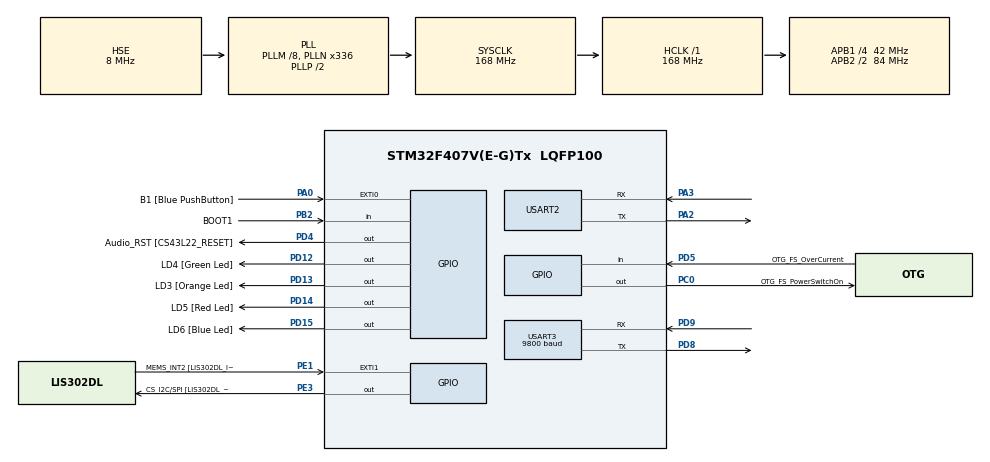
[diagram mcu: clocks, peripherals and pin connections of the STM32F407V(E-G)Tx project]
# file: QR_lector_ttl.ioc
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Mcu.Family=STM32F4
Mcu.Name=STM32F407V(E-G)Tx
Mcu.Package=LQFP100
NVIC.EXTI0_IRQn=true\:0\:0\:false\:false\:true\:true\:true
NVIC.PriorityGroup=NVIC_PRIORITYGROUP_0
NVIC.TIM1_BRK_TIM9_IRQn=true\:0\:0\:false\:false\:true\:true\:true
NVIC.USART2_IRQn=true\:0\:0\:false\:false\:true\:true\:true
NVIC.USART3_IRQn=true\:0\:0\:false\:false\:true\:true\:true
PA0-WKUP.GPIO_Label=B1 [Blue PushButton]
PA0-WKUP.GPIO_ModeDefaultEXTI=GPIO_MODE_IT_RISING
PA0-WKUP.GPIO_PuPd=GPIO_NOPULL
PA0-WKUP.Signal=GPXTI0
PA10.GPIO_Label=OTG_FS_ID
PA10.GPIO_Mode=GPIO_MODE_AF_PP
PA10.GPIO_PuPd=GPIO_NOPULL
PA10.GPIO_Speed=GPIO_SPEED_FREQ_LOW
PA10.Signal=USB_OTG_FS_ID
PA11.GPIO_Label=OTG_FS_DM
PA11.GPIO_Mode=GPIO_MODE_AF_PP
PA11.GPIO_PuPd=GPIO_NOPULL
PA11.GPIO_Speed=GPIO_SPEED_FREQ_LOW
PA11.Signal=USB_OTG_FS_DM
PA12.GPIO_Label=OTG_FS_DP
PA12.GPIO_Mode=GPIO_MODE_AF_PP
PA12.GPIO_PuPd=GPIO_NOPULL
PA12.GPIO_Speed=GPIO_SPEED_FREQ_LOW
PA12.Signal=USB_OTG_FS_DP
PA13.GPIO_Label=SWDIO
PA13.Mode=Serial_Wire
PA13.Signal=SYS_JTMS-SWDIO
PA14.GPIO_Label=SWCLK
PA14.Mode=Serial_Wire
PA14.Signal=SYS_JTCK-SWCLK
PA2.Mode=Asynchronous
PA2.Signal=USART2_TX
PA3.Mode=Asynchronous
PA3.Signal=USART2_RX
PA4.GPIO_Label=I2S3_WS [CS43L22_LRCK]
PA4.GPIO_Mode=GPIO_MODE_AF_PP
PA4.GPIO_PuPd=GPIO_NOPULL
PA4.GPIO_Speed=GPIO_SPEED_FREQ_LOW
PA4.Signal=I2S3_WS
PA5.GPIO_Label=SPI1_SCK [LIS302DL_SCL/SPC]
PA5.GPIO_Mode=GPIO_MODE_AF_PP
PA5.GPIO_PuPd=GPIO_NOPULL
PA5.GPIO_Speed=GPIO_SPEED_FREQ_LOW
PA5.Signal=SPI1_SCK
PA6.GPIO_Label=SPI1_MISO [LIS302DL_SDO]
PA6.GPIO_Mode=GPIO_MODE_AF_PP
PA6.GPIO_PuPd=GPIO_NOPULL
PA6.GPIO_Speed=GPIO_SPEED_FREQ_LOW
PA6.Signal=SPI1_MISO
PA7.GPIO_Label=SPI1_MOSI [LIS302DL_SDA/SDI/SDO]
PA7.GPIO_Mode=GPIO_MODE_AF_PP
PA7.GPIO_PuPd=GPIO_NOPULL
PA7.GPIO_Speed=GPIO_SPEED_FREQ_LOW
PA7.Signal=SPI1_MOSI
PA9.GPIO_Label=VBUS_FS
PA9.GPIO_Mode=GPIO_MODE_INPUT
PA9.GPIO_PuPd=GPIO_NOPULL
PA9.Signal=USB_OTG_FS_VBUS
PB10.GPIO_Label=CLK_IN [MP45DT02_CLK]
PB10.GPIO_Mode=GPIO_MODE_AF_PP
PB10.GPIO_PuPd=GPIO_NOPULL
PB10.GPIO_Speed=GPIO_SPEED_FREQ_LOW
PB10.Signal=I2S2_CK
PB2.GPIO_Label=BOOT1
PB2.GPIO_Mode=GPIO_MODE_INPUT
PB2.GPIO_PuPd=GPIO_NOPULL
PB2.Signal=GPIO_Input
PB3.GPIO_Label=SWO
PB3.Signal=SYS_JTDO-SWO
PB6.GPIO_Label=Audio_SCL [CS43L22_SCL]
PB6.GPIO_Mode=GPIO_MODE_AF_OD
PB6.GPIO_Pu=GPIO_PULLUP
PB6.GPIO_PuPd=GPIO_NOPULL
PB6.GPIO_Speed=GPIO_SPEED_FREQ_LOW
PB6.Signal=I2C1_SCL
PB9.GPIO_Label=Audio_SDA [CS43L22_SDA]
PB9.GPIO_Mode=GPIO_MODE_AF_OD
PB9.GPIO_Pu=GPIO_PULLUP
PB9.GPIO_PuPd=GPIO_NOPULL
PB9.GPIO_Speed=GPIO_SPEED_FREQ_LOW
PB9.Signal=I2C1_SDA
PC0.GPIO_Label=OTG_FS_PowerSwitchOn
PC0.GPIO_PuPd=GPIO_NOPULL
PC0.GPIO_Speed=GPIO_SPEED_FREQ_LOW
PC0.PinState=GPIO_PIN_SET
PC0.Signal=GPIO_Output
PC10.GPIO_Label=I2S3_SCK [CS43L22_SCLK]
PC10.GPIO_Mode=GPIO_MODE_AF_PP
PC10.GPIO_PuPd=GPIO_NOPULL
PC10.GPIO_Speed=GPIO_SPEED_FREQ_LOW
PC10.Signal=I2S3_CK
PC12.GPIO_Label=I2S3_SD [CS43L22_SDIN]
PC12.GPIO_Mode=GPIO_MODE_AF_PP
PC12.GPIO_PuPd=GPIO_NOPULL
PC12.GPIO_Speed=GPIO_SPEED_FREQ_LOW
PC12.Signal=I2S3_SD
PC14-OSC32_IN.GPIO_Label=PC14-OSC32_IN
PC14-OSC32_IN.Mode=LSE-External-Oscillator
PC14-OSC32_IN.Signal=RCC_OSC32_IN
PC15-OSC32_OUT.GPIO_Label=PC15-OSC32_OUT
PC15-OSC32_OUT.Mode=LSE-External-Oscillator
PC15-OSC32_OUT.Signal=RCC_OSC32_OUT
PC3.GPIO_Label=PDM_OUT [MP45DT02_DOUT]
PC3.GPIO_Mode=GPIO_MODE_AF_PP
PC3.GPIO_PuPd=GPIO_NOPULL
PC3.GPIO_Speed=GPIO_SPEED_FREQ_LOW
PC3.Signal=I2S2_SD
PC7.GPIO_Label=I2S3_MCK [CS43L22_MCLK]
PC7.GPIO_Mode=GPIO_MODE_AF_PP
PC7.GPIO_PuPd=GPIO_NOPULL
PC7.GPIO_Speed=GPIO_SPEED_FREQ_LOW
PC7.Signal=I2S3_MCK
PD12.GPIO_Label=LD4 [Green Led]
PD12.GPIO_PuPd=GPIO_NOPULL
PD12.GPIO_Speed=GPIO_SPEED_FREQ_LOW
PD12.Signal=GPIO_Output
PD13.GPIO_Label=LD3 [Orange Led]
PD13.GPIO_PuPd=GPIO_NOPULL
PD13.GPIO_Speed=GPIO_SPEED_FREQ_LOW
PD13.Signal=GPIO_Output
PD14.GPIO_Label=LD5 [Red Led]
PD14.GPIO_PuPd=GPIO_NOPULL
PD14.GPIO_Speed=GPIO_SPEED_FREQ_LOW
PD14.Signal=GPIO_Output
PD15.GPIO_Label=LD6 [Blue Led]
PD15.GPIO_PuPd=GPIO_NOPULL
PD15.GPIO_Speed=GPIO_SPEED_FREQ_LOW
PD15.Signal=GPIO_Output
PD4.GPIO_Label=Audio_RST [CS43L22_RESET]
PD4.GPIO_PuPd=GPIO_NOPULL
PD4.GPIO_Speed=GPIO_SPEED_FREQ_LOW
PD4.Signal=GPIO_Output
PD5.GPIO_Label=OTG_FS_OverCurrent
PD5.GPIO_Mode=GPIO_MODE_INPUT
PD5.GPIO_PuPd=GPIO_NOPULL
PD5.Signal=GPIO_Input
PD8.Mode=Asynchronous
PD8.Signal=USART3_TX
PD9.Mode=Asynchronous
PD9.Signal=USART3_RX
PE1.GPIO_Label=MEMS_INT2 [LIS302DL_INT2]
PE1.GPIO_ModeDefaultEXTI=GPIO_MODE_EVT_RISING
PE1.GPIO_PuPd=GPIO_NOPULL
PE1.Signal=GPXTI1
PE3.GPIO_Label=CS_I2C/SPI [LIS302DL_CS_I2C/SPI]
PE3.GPIO_PuPd=GPIO_NOPULL
PE3.GPIO_Speed=GPIO_SPEED_FREQ_LOW
PE3.Signal=GPIO_Output
PH0-OSC_IN.GPIO_Label=PH0-OSC_IN
PH0-OSC_IN.Mode=HSE-External-Oscillator
PH0-OSC_IN.Signal=RCC_OSC_IN
PH1-OSC_OUT.GPIO_Label=PH1-OSC_OUT
PH1-OSC_OUT.Mode=HSE-External-Oscillator
PH1-OSC_OUT.Signal=RCC_OSC_OUT
ProjectManager.HeapSize=0x200
ProjectManager.StackSize=0x400
ProjectManager.TargetToolchain=STM32CubeIDE
RCC.48MHZClocksFreq_Value=48000000
RCC.AHBFreq_Value=168000000
RCC.APB1CLKDivider=RCC_HCLK_DIV4
RCC.APB1Freq_Value=42000000
RCC.APB1TimFreq_Value=84000000
RCC.APB2CLKDivider=RCC_HCLK_DIV2
RCC.APB2Freq_Value=84000000
RCC.APB2TimFreq_Value=168000000
RCC.CortexFreq_Value=168000000
RCC.HCLKFreq_Value=168000000
RCC.HSE_VALUE=8000000
RCC.HSI_VALUE=16000000
RCC.PLLM=8
RCC.PLLN=336
RCC.PLLQ=7
RCC.PLLSourceVirtual=RCC_PLLSOURCE_HSE
RCC.SYSCLKFreq_VALUE=168000000
RCC.SYSCLKSource=RCC_SYSCLKSOURCE_PLLCLK
RCC.VCOOutputFreq_Value=336000000
TIM9.AutoReloadPreload=TIM_AUTORELOAD_PRELOAD_DISABLE
TIM9.Period=4000-1
TIM9.Prescaler=16799
USART2.VirtualMode=VM_ASYNC
USART3.BaudRate=9800
USART3.VirtualMode=VM_ASYNC
VP_TIM9_VS_ClockSourceINT.Mode=Internal
board=STM32F407G-DISC1

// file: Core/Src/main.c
/* USER CODE BEGIN Header */
/**
  ******************************************************************************
  * @file           : main.c
  * @brief          : Main program body
  ******************************************************************************
  * @attention
  *
  * Copyright (c) 2021 STMicroelectronics.
  * All rights reserved.
  *
  * This software is licensed under terms that can be found in the LICENSE file
  * in the root directory of this software component.
  * If no LICENSE file comes with this software, it is provided AS-IS.
  *
  ******************************************************************************
  */
/* USER CODE END Header */
#include "main.h"

/* USER CODE BEGIN Includes */
#include "gm65.h"
#include "stdio.h"
/* USER CODE END Includes */

/* USER CODE BEGIN PD */
#define	QR_START				0
#define	QR_SETUP_OFF			1
#define QR_SETUP_OFF_T			11
#define QR_SETUP_OFF_R			12
#define	QR_IDLE					2
#define	QR_SCAN					3
#define QR_SCAN_T				31
#define	QR_SCAN_RC				32
#define	QR_SCAN_RH				33
#define QR_SCAN_RD				34
#define	QR_SCAN_SETUP_OFF		4
#define QR_SCAN_SETUP_OFF_T		41
#define	QR_SCAN_SETUP_OFF_R		42
#define	QR_ABORT				5

#define QR_LENGTH_COMMAND				9
#define QR_LENGTH_RESPOND_COMMAND		7
#define QR_LENGTH_HEAD					3

#define QR_COMMAND_WAIT					5000
#define QR_SCAN_WAIT					55000

/* USER CODE END PD */

TIM_HandleTypeDef htim9;

UART_HandleTypeDef huart2;
UART_HandleTypeDef huart3;

void SystemClock_Config(void);
static void MX_GPIO_Init(void);
static void MX_USART2_UART_Init(void);
static void MX_USART3_UART_Init(void);
static void MX_TIM9_Init(void);
/* USER CODE BEGIN PFP */
uint8_t qrRespuestaValida(uint8_t *respuesta);
uint8_t qrRespSetupOnCode(uint8_t *code);
/* USER CODE END PFP */

/* USER CODE BEGIN 0 */
//uint8_t dato[4];
uint8_t qrSetupOFF[] ={ 	0x7E, 0,
								0x08,
								0x01,
								0x00, 0x03,
								0x03,
								0x11, 0xA9};
uint8_t qrWriteOK[]={		0x02, 0x00,
								0x00,
								0x01,
								0x00,
								0x33, 0x31};
uint8_t qrScan[]={		0x7E, 0x00,
								0x08,
								0x01,
								0x00, 0x02,
								0x01,
								0xAB, 0xCD};
uint8_t qrSetupOnCode[]={	0x51, 0x80, 0x52, 0x30, 0x33, 0x30, 0x32, 0x30, 0x30, 0x2E};
uint8_t qrBuffer[256];
uint8_t qrLengthDecode = 0;
uint8_t qrStatus = QR_START;

uint8_t qrRequest = 0;
uint8_t qrDataReady = 0;
char texto[25];
/* USER CODE END 0 */

int main(void)
{

  /* MCU Configuration--------------------------------------------------------*/

  /* Reset of all peripherals, Initializes the Flash interface and the Systick. */
  HAL_Init();

  /* Configure the system clock */
  SystemClock_Config();

  /* Initialize all configured peripherals */
  MX_GPIO_Init();
  MX_USART2_UART_Init();
  MX_USART3_UART_Init();
  MX_TIM9_Init();
  /* USER CODE BEGIN 2 */
  //HAL_Delay(1000);

  HAL_UART_Transmit_IT(&huart3, qrSetupOFF, QR_LENGTH_COMMAND);
  qrStatus= QR_SETUP_OFF_T;
  __HAL_TIM_SET_COUNTER(&htim9, 0);
  /* USER CODE END 2 */

  /* Infinite loop */
  /* USER CODE BEGIN WHILE */
  while (1)
  {

	  if(qrDataReady==1){
		  sprintf(texto,"Codigo decodificado:\n");
		  HAL_UART_Transmit(&huart2, (uint8_t*)texto, 21 , HAL_MAX_DELAY);
		  if(qrBuffer[0] ==0x51 && qrBuffer[qrLengthDecode-1]== 0x0D){
			  HAL_UART_Transmit(&huart2, qrBuffer+1, qrLengthDecode-2, HAL_MAX_DELAY);
		  }
		  else if(qrBuffer[0] != 0x51){
			  sprintf(texto,"No es QR\n");
			  HAL_UART_Transmit(&huart2, (uint8_t*)texto, 9 , HAL_MAX_DELAY);
		  }
		  else{
			  sprintf(texto,"ERROR\n");
			  HAL_UART_Transmit(&huart2, (uint8_t*)texto, 6 , HAL_MAX_DELAY);
		  }
		  qrDataReady=0;
	  }

    /* USER CODE END WHILE */

  }
}

void SystemClock_Config(void)
{
  RCC_OscInitTypeDef RCC_OscInitStruct = {0};
  RCC_ClkInitTypeDef RCC_ClkInitStruct = {0};

  /** Configure the main internal regulator output voltage
  */
  __HAL_RCC_PWR_CLK_ENABLE();
  __HAL_PWR_VOLTAGESCALING_CONFIG(PWR_REGULATOR_VOLTAGE_SCALE1);
  /** Initializes the RCC Oscillators according to the specified parameters
  * in the RCC_OscInitTypeDef structure.
  */
  RCC_OscInitStruct.OscillatorType = RCC_OSCILLATORTYPE_HSE;
  RCC_OscInitStruct.HSEState = RCC_HSE_ON;
  RCC_OscInitStruct.PLL.PLLState = RCC_PLL_ON;
  RCC_OscInitStruct.PLL.PLLSource = RCC_PLLSOURCE_HSE;
  RCC_OscInitStruct.PLL.PLLM = 8;
  RCC_OscInitStruct.PLL.PLLN = 336;
  RCC_OscInitStruct.PLL.PLLP = RCC_PLLP_DIV2;
  RCC_OscInitStruct.PLL.PLLQ = 7;
  if (HAL_RCC_OscConfig(&RCC_OscInitStruct) != HAL_OK)
  {
    Error_Handler();
  }
  /** Initializes the CPU, AHB and APB buses clocks
  */
  RCC_ClkInitStruct.ClockType = RCC_CLOCKTYPE_HCLK|RCC_CLOCKTYPE_SYSCLK
                              |RCC_CLOCKTYPE_PCLK1|RCC_CLOCKTYPE_PCLK2;
  RCC_ClkInitStruct.SYSCLKSource = RCC_SYSCLKSOURCE_PLLCLK;
  RCC_ClkInitStruct.AHBCLKDivider = RCC_SYSCLK_DIV1;
  RCC_ClkInitStruct.APB1CLKDivider = RCC_HCLK_DIV4;
  RCC_ClkInitStruct.APB2CLKDivider = RCC_HCLK_DIV2;

  if (HAL_RCC_ClockConfig(&RCC_ClkInitStruct, FLASH_LATENCY_5) != HAL_OK)
  {
    Error_Handler();
  }
}

static void MX_TIM9_Init(void)
{

  TIM_ClockConfigTypeDef sClockSourceConfig = {0};

  htim9.Instance = TIM9;
  htim9.Init.Prescaler = 16799;
  htim9.Init.CounterMode = TIM_COUNTERMODE_UP;
  htim9.Init.Period = 4000-1;
  htim9.Init.ClockDivision = TIM_CLOCKDIVISION_DIV1;
  htim9.Init.AutoReloadPreload = TIM_AUTORELOAD_PRELOAD_DISABLE;
  if (HAL_TIM_Base_Init(&htim9) != HAL_OK)
  {
    Error_Handler();
  }
  sClockSourceConfig.ClockSource = TIM_CLOCKSOURCE_INTERNAL;
  if (HAL_TIM_ConfigClockSource(&htim9, &sClockSourceConfig) != HAL_OK)
  {
    Error_Handler();
  }
  /* USER CODE BEGIN TIM9_Init 2 */
  __HAL_TIM_CLEAR_FLAG(&htim9, TIM_FLAG_UPDATE);
  __HAL_TIM_CLEAR_IT(&htim9, TIM_IT_UPDATE);
  /* USER CODE END TIM9_Init 2 */

}

static void MX_USART2_UART_Init(void)
{

  huart2.Instance = USART2;
  huart2.Init.BaudRate = 115200;
  huart2.Init.WordLength = UART_WORDLENGTH_8B;
  huart2.Init.StopBits = UART_STOPBITS_1;
  huart2.Init.Parity = UART_PARITY_NONE;
  huart2.Init.Mode = UART_MODE_TX_RX;
  huart2.Init.HwFlowCtl = UART_HWCONTROL_NONE;
  huart2.Init.OverSampling = UART_OVERSAMPLING_16;
  if (HAL_UART_Init(&huart2) != HAL_OK)
  {
    Error_Handler();
  }

}

static void MX_USART3_UART_Init(void)
{

  huart3.Instance = USART3;
  huart3.Init.BaudRate = 9800;
  huart3.Init.WordLength = UART_WORDLENGTH_8B;
  huart3.Init.StopBits = UART_STOPBITS_1;
  huart3.Init.Parity = UART_PARITY_NONE;
  huart3.Init.Mode = UART_MODE_TX_RX;
  huart3.Init.HwFlowCtl = UART_HWCONTROL_NONE;
  huart3.Init.OverSampling = UART_OVERSAMPLING_16;
  if (HAL_UART_Init(&huart3) != HAL_OK)
  {
    Error_Handler();
  }

}

static void MX_GPIO_Init(void)
{
  GPIO_InitTypeDef GPIO_InitStruct = {0};

  /* GPIO Ports Clock Enable */
  __HAL_RCC_GPIOE_CLK_ENABLE();
  __HAL_RCC_GPIOC_CLK_ENABLE();
  __HAL_RCC_GPIOH_CLK_ENABLE();
  __HAL_RCC_GPIOA_CLK_ENABLE();
  __HAL_RCC_GPIOB_CLK_ENABLE();
  __HAL_RCC_GPIOD_CLK_ENABLE();

  /*Configure GPIO pin Output Level */
  HAL_GPIO_WritePin(CS_I2C_SPI_GPIO_Port, CS_I2C_SPI_Pin, GPIO_PIN_RESET);

  /*Configure GPIO pin Output Level */
  HAL_GPIO_WritePin(OTG_FS_PowerSwitchOn_GPIO_Port, OTG_FS_PowerSwitchOn_Pin, GPIO_PIN_SET);

  /*Configure GPIO pin Output Level */
  HAL_GPIO_WritePin(GPIOD, LD4_Pin|LD3_Pin|LD5_Pin|LD6_Pin
                          |Audio_RST_Pin, GPIO_PIN_RESET);

  /*Configure GPIO pin : CS_I2C_SPI_Pin */
  GPIO_InitStruct.Pin = CS_I2C_SPI_Pin;
  GPIO_InitStruct.Mode = GPIO_MODE_OUTPUT_PP;
  GPIO_InitStruct.Pull = GPIO_NOPULL;
  GPIO_InitStruct.Speed = GPIO_SPEED_FREQ_LOW;
  HAL_GPIO_Init(CS_I2C_SPI_GPIO_Port, &GPIO_InitStruct);

  /*Configure GPIO pin : OTG_FS_PowerSwitchOn_Pin */
  GPIO_InitStruct.Pin = OTG_FS_PowerSwitchOn_Pin;
  GPIO_InitStruct.Mode = GPIO_MODE_OUTPUT_PP;
  GPIO_InitStruct.Pull = GPIO_NOPULL;
  GPIO_InitStruct.Speed = GPIO_SPEED_FREQ_LOW;
  HAL_GPIO_Init(OTG_FS_PowerSwitchOn_GPIO_Port, &GPIO_InitStruct);

  /*Configure GPIO pin : PDM_OUT_Pin */
  GPIO_InitStruct.Pin = PDM_OUT_Pin;
  GPIO_InitStruct.Mode = GPIO_MODE_AF_PP;
  GPIO_InitStruct.Pull = GPIO_NOPULL;
  GPIO_InitStruct.Speed = GPIO_SPEED_FREQ_LOW;
  GPIO_InitStruct.Alternate = GPIO_AF5_SPI2;
  HAL_GPIO_Init(PDM_OUT_GPIO_Port, &GPIO_InitStruct);

  /*Configure GPIO pin : B1_Pin */
  GPIO_InitStruct.Pin = B1_Pin;
  GPIO_InitStruct.Mode = GPIO_MODE_IT_RISING;
  GPIO_InitStruct.Pull = GPIO_NOPULL;
  HAL_GPIO_Init(B1_GPIO_Port, &GPIO_InitStruct);

  /*Configure GPIO pin : I2S3_WS_Pin */
  GPIO_InitStruct.Pin = I2S3_WS_Pin;
  GPIO_InitStruct.Mode = GPIO_MODE_AF_PP;
  GPIO_InitStruct.Pull = GPIO_NOPULL;
  GPIO_InitStruct.Speed = GPIO_SPEED_FREQ_LOW;
  GPIO_InitStruct.Alternate = GPIO_AF6_SPI3;
  HAL_GPIO_Init(I2S3_WS_GPIO_Port, &GPIO_InitStruct);

  /*Configure GPIO pins : SPI1_SCK_Pin SPI1_MISO_Pin SPI1_MOSI_Pin */
  GPIO_InitStruct.Pin = SPI1_SCK_Pin|SPI1_MISO_Pin|SPI1_MOSI_Pin;
  GPIO_InitStruct.Mode = GPIO_MODE_AF_PP;
  GPIO_InitStruct.Pull = GPIO_NOPULL;
  GPIO_InitStruct.Speed = GPIO_SPEED_FREQ_LOW;
  GPIO_InitStruct.Alternate = GPIO_AF5_SPI1;
  HAL_GPIO_Init(GPIOA, &GPIO_InitStruct);

  /*Configure GPIO pin : BOOT1_Pin */
  GPIO_InitStruct.Pin = BOOT1_Pin;
  GPIO_InitStruct.Mode = GPIO_MODE_INPUT;
  GPIO_InitStruct.Pull = GPIO_NOPULL;
  HAL_GPIO_Init(BOOT1_GPIO_Port, &GPIO_InitStruct);

  /*Configure GPIO pin : CLK_IN_Pin */
  GPIO_InitStruct.Pin = CLK_IN_Pin;
  GPIO_InitStruct.Mode = GPIO_MODE_AF_PP;
  GPIO_InitStruct.Pull = GPIO_NOPULL;
  GPIO_InitStruct.Speed = GPIO_SPEED_FREQ_LOW;
  GPIO_InitStruct.Alternate = GPIO_AF5_SPI2;
  HAL_GPIO_Init(CLK_IN_GPIO_Port, &GPIO_InitStruct);

  /*Configure GPIO pins : LD4_Pin LD3_Pin LD5_Pin LD6_Pin
                           Audio_RST_Pin */
  GPIO_InitStruct.Pin = LD4_Pin|LD3_Pin|LD5_Pin|LD6_Pin
                          |Audio_RST_Pin;
  GPIO_InitStruct.Mode = GPIO_MODE_OUTPUT_PP;
  GPIO_InitStruct.Pull = GPIO_NOPULL;
  GPIO_InitStruct.Speed = GPIO_SPEED_FREQ_LOW;
  HAL_GPIO_Init(GPIOD, &GPIO_InitStruct);

  /*Configure GPIO pins : I2S3_MCK_Pin I2S3_SCK_Pin I2S3_SD_Pin */
  GPIO_InitStruct.Pin = I2S3_MCK_Pin|I2S3_SCK_Pin|I2S3_SD_Pin;
  GPIO_InitStruct.Mode = GPIO_MODE_AF_PP;
  GPIO_InitStruct.Pull = GPIO_NOPULL;
  GPIO_InitStruct.Speed = GPIO_SPEED_FREQ_LOW;
  GPIO_InitStruct.Alternate = GPIO_AF6_SPI3;
  HAL_GPIO_Init(GPIOC, &GPIO_InitStruct);

  /*Configure GPIO pin : VBUS_FS_Pin */
  GPIO_InitStruct.Pin = VBUS_FS_Pin;
  GPIO_InitStruct.Mode = GPIO_MODE_INPUT;
  GPIO_InitStruct.Pull = GPIO_NOPULL;
  HAL_GPIO_Init(VBUS_FS_GPIO_Port, &GPIO_InitStruct);

  /*Configure GPIO pins : OTG_FS_ID_Pin OTG_FS_DM_Pin OTG_FS_DP_Pin */
  GPIO_InitStruct.Pin = OTG_FS_ID_Pin|OTG_FS_DM_Pin|OTG_FS_DP_Pin;
  GPIO_InitStruct.Mode = GPIO_MODE_AF_PP;
  GPIO_InitStruct.Pull = GPIO_NOPULL;
  GPIO_InitStruct.Speed = GPIO_SPEED_FREQ_LOW;
  GPIO_InitStruct.Alternate = GPIO_AF10_OTG_FS;
  HAL_GPIO_Init(GPIOA, &GPIO_InitStruct);

  /*Configure GPIO pin : OTG_FS_OverCurrent_Pin */
  GPIO_InitStruct.Pin = OTG_FS_OverCurrent_Pin;
  GPIO_InitStruct.Mode = GPIO_MODE_INPUT;
  GPIO_InitStruct.Pull = GPIO_NOPULL;
  HAL_GPIO_Init(OTG_FS_OverCurrent_GPIO_Port, &GPIO_InitStruct);

  /*Configure GPIO pins : Audio_SCL_Pin Audio_SDA_Pin */
  GPIO_InitStruct.Pin = Audio_SCL_Pin|Audio_SDA_Pin;
  GPIO_InitStruct.Mode = GPIO_MODE_AF_OD;
  GPIO_InitStruct.Pull = GPIO_PULLUP;
  GPIO_InitStruct.Speed = GPIO_SPEED_FREQ_LOW;
  GPIO_InitStruct.Alternate = GPIO_AF4_I2C1;
  HAL_GPIO_Init(GPIOB, &GPIO_InitStruct);

  /*Configure GPIO pin : MEMS_INT2_Pin */
  GPIO_InitStruct.Pin = MEMS_INT2_Pin;
  GPIO_InitStruct.Mode = GPIO_MODE_EVT_RISING;
  GPIO_InitStruct.Pull = GPIO_NOPULL;
  HAL_GPIO_Init(MEMS_INT2_GPIO_Port, &GPIO_InitStruct);

  /* EXTI interrupt init*/
  HAL_NVIC_SetPriority(EXTI0_IRQn, 0, 0);
  HAL_NVIC_EnableIRQ(EXTI0_IRQn);

}

/* USER CODE BEGIN 4 */
void HAL_UART_TxCpltCallback(UART_HandleTypeDef *huart){
	if(huart->Instance == USART3){
		HAL_TIM_Base_Stop_IT(&htim9);
		switch (qrStatus){
		case QR_SETUP_OFF_T:
			HAL_UART_Receive_IT(&huart3, qrBuffer, QR_LENGTH_RESPOND_COMMAND);
			__HAL_TIM_SET_AUTORELOAD(&htim9, QR_COMMAND_WAIT);
			__HAL_TIM_SET_COUNTER(&htim9, 0);
			HAL_TIM_Base_Start_IT(&htim9);
			qrStatus=QR_SETUP_OFF_R;
			break;
		case QR_SCAN_T:
			HAL_UART_Receive_IT(&huart3, qrBuffer, QR_LENGTH_RESPOND_COMMAND);
			__HAL_TIM_SET_AUTORELOAD(&htim9, QR_COMMAND_WAIT);
			__HAL_TIM_SET_COUNTER(&htim9, 0);
			HAL_TIM_Base_Start_IT(&htim9);
			qrStatus=QR_SCAN_RC;
			break;
		case QR_SCAN_SETUP_OFF_T:
			HAL_UART_Receive_IT(&huart3, qrBuffer, QR_LENGTH_RESPOND_COMMAND);
			__HAL_TIM_SET_AUTORELOAD(&htim9, QR_COMMAND_WAIT);
			__HAL_TIM_SET_COUNTER(&htim9, 0);
			HAL_TIM_Base_Start_IT(&htim9);
			qrStatus=QR_SCAN_SETUP_OFF_R;
			break;
		default:
			break;
		}
		}

	if(huart->Instance == USART2){
		//HAL_UART_Transmit_IT(&huart2, dato, 4);
	}

}

void HAL_UART_RxCpltCallback(UART_HandleTypeDef *huart){
	if(huart->Instance == USART3){
			HAL_TIM_Base_Stop_IT(&htim9);
			__HAL_TIM_SET_COUNTER(&htim9,0);
			switch (qrStatus){
			case QR_SETUP_OFF_R:
				if(qrRespuestaValida(qrBuffer) == 1){
					//HAL_Delay(1000);
					HAL_UART_Transmit_IT(&huart3, qrSetupOFF, QR_LENGTH_COMMAND);
					qrStatus=QR_SETUP_OFF_T;

				}
				else{
					qrStatus=QR_START;
				}
				break;

			case QR_SCAN_RC:
				if(qrRespuestaValida(qrBuffer) == 1){
					//HAL_Delay(1000);
					HAL_UART_Transmit_IT(&huart3, qrScan, QR_LENGTH_COMMAND);
					qrStatus=QR_SCAN_T;
				}
				else{
					qrStatus=QR_SCAN_RH;
					HAL_UART_Receive_IT(&huart3, qrBuffer, QR_LENGTH_HEAD);
					__HAL_TIM_SET_AUTORELOAD(&htim9, QR_SCAN_WAIT);
					HAL_TIM_Base_Start_IT(&htim9);
				}
				break;
			case QR_SCAN_RH:
				if((qrBuffer[0]=0x03) && (qrBuffer[1] == 0x00)){
					qrLengthDecode = qrBuffer[2];
					HAL_UART_Receive_IT(&huart3, qrBuffer, qrLengthDecode);
					__HAL_TIM_SET_AUTORELOAD(&htim9, QR_SCAN_WAIT);
					HAL_TIM_Base_Start_IT(&htim9);
					qrStatus=QR_SCAN_RD;
				}
				else{
					//HAL_Delay(1000);
					HAL_UART_Transmit_IT(&huart3, qrScan, QR_LENGTH_COMMAND);
					qrStatus=QR_SCAN_T;
				}
				break;
			case QR_SCAN_RD:
				if((qrLengthDecode == 0x0B) && (qrRespSetupOnCode(qrBuffer)==0)){
					qrStatus=QR_SCAN_SETUP_OFF_T;
					HAL_UART_Transmit_IT(&huart3, qrSetupOFF, QR_LENGTH_COMMAND);
				}
				else{
					qrDataReady=1;
					qrStatus=QR_START;
				}
				break;
			case QR_SCAN_SETUP_OFF_R:
				if(qrRespuestaValida(qrBuffer) == 1){
					//HAL_Delay(1000);
					HAL_UART_Transmit_IT(&huart3, qrSetupOFF, QR_LENGTH_COMMAND);
					qrStatus=QR_SCAN_SETUP_OFF_T;
				}
				else{
					qrStatus=QR_SCAN_T;
					HAL_UART_Transmit_IT(&huart3, qrScan, QR_LENGTH_COMMAND);
				}
				break;
			default:
				break;
			}
	}
}

void HAL_GPIO_EXTI_Callback(uint16_t GPIO_Pin){

	if(qrStatus == QR_START){
		qrStatus=QR_SCAN_T;
		HAL_UART_Transmit_IT(&huart3, qrScan, QR_LENGTH_COMMAND);
	}
}

uint8_t qrRespuestaValida(uint8_t *respuesta){
	uint8_t flag = 0;
	for(int i=0; i<7; i++){
		if(*(respuesta+i) != *(qrWriteOK+i)){
			flag = 1;
			break;
		}
	}
	return flag;
}

uint8_t qrRespSetupOnCode(uint8_t *code){
	uint8_t flag = 0;
	for(int i=0; i<10; i++){
		if(*(code+i) != *(qrSetupOnCode+i)){
			flag = 1;
			break;
		}
	}
	return flag;
}

void HAL_TIM_PeriodElapsedCallback(TIM_HandleTypeDef *htim){
	if(htim->Instance ==TIM9){
		HAL_UART_AbortReceive_IT(&huart3);
		HAL_TIM_Base_Stop_IT(&htim9);
		__HAL_TIM_SET_COUNTER(&htim9, 0);
		switch (qrStatus){
		case QR_SETUP_OFF_R:
			qrStatus=QR_SETUP_OFF_T;
			HAL_UART_Transmit_IT(&huart3, qrSetupOFF, 9);
			break;
		case QR_SCAN_RC:
			HAL_UART_Transmit_IT(&huart3, qrScan, 9);
			qrStatus=QR_SCAN_T;
			break;
		case QR_SCAN_RH:
			qrStatus=QR_SCAN_T;
			HAL_UART_Transmit_IT(&huart3, qrScan, 9);
			break;
		case QR_SCAN_RD:
			qrStatus=QR_SCAN_T;
			HAL_UART_Transmit_IT(&huart3, qrScan, 9);
			break;
		case QR_SCAN_SETUP_OFF_R:
			qrStatus=QR_SCAN_SETUP_OFF_T;
			HAL_UART_Transmit_IT(&huart3, qrSetupOFF, 9);
		default:
			break;
		}
	}
}

/* USER CODE END 4 */

void Error_Handler(void)
{
  /* USER CODE BEGIN Error_Handler_Debug */
  /* User can add his own implementation to report the HAL error return state */
  __disable_irq();
  while (1)
  {
  }
  return;
  /* USER CODE END Error_Handler_Debug */
}
